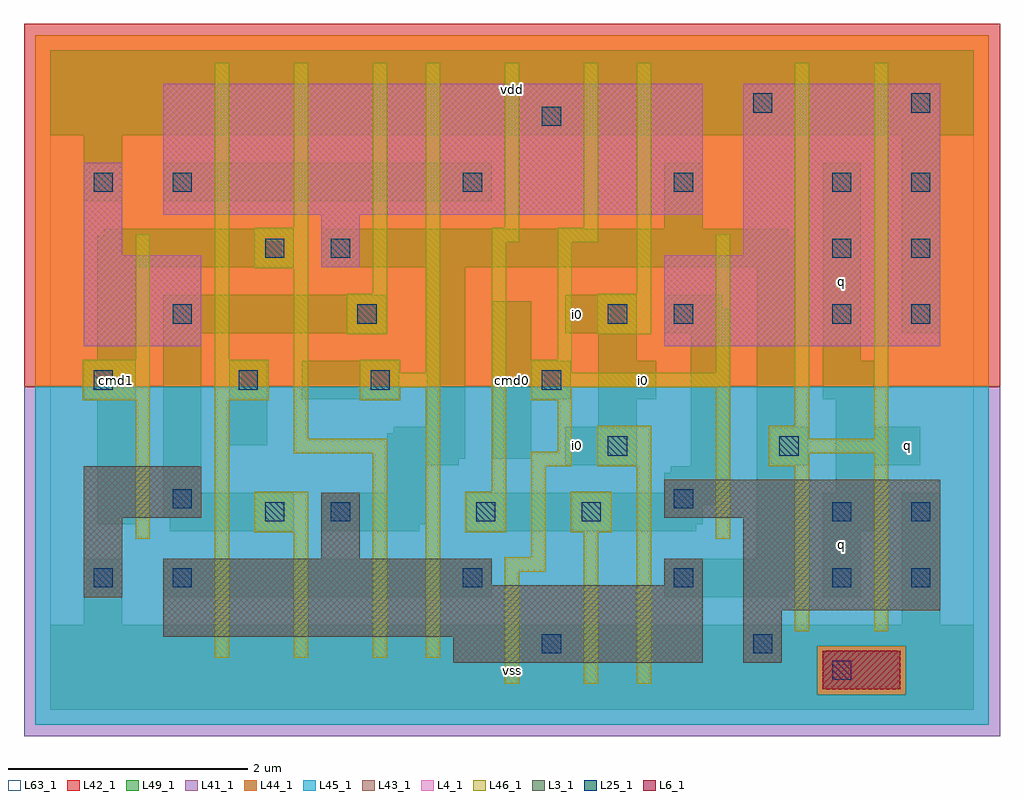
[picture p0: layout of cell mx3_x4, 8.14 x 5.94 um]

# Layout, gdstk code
import gdstk
lib = gdstk.Library(unit=1e-6, precision=1e-09)
def R(c, l, rs):  # rectangles x0, y0, x1, y1
    for r in rs: c.add(gdstk.rectangle(r[:2], r[2:], *l))
def A(c, l, x, y, w, h, nx, ny, dx, dy):  # array of equal rectangles
    R(c, l, [(x+i*dx, y+j*dy, x+i*dx+w, y+j*dy+h) for i in range(nx) for j in range(ny)])
L3_1 = (3, 1)
L4_1 = (4, 1)
L6_1 = (6, 1)
L25_1 = (25, 1)
L41_1 = (41, 1)
L42_1 = (42, 1)
L43_1 = (43, 1)
L44_1 = (44, 1)
L45_1 = (45, 1)
L46_1 = (46, 1)
L49_1 = (49, 1)
L63_1 = (63, 1)

mx3_x4 = lib.new_cell('mx3_x4')
R(mx3_x4, L3_1, [(3.36,0.39,5.44,0.61), (5.78,0.39,6.1,0.83), (0.94,0.61,5.44,1.04), (5.78,0.83,7.42,1.6), (0.28,0.94,0.6,1.6), (0.94,1.04,3.68,1.26), (5.12,1.04,5.44,1.26), (2.26,1.26,2.58,1.81), (0.28,1.6,1.26,2.03), (5.12,1.6,7.42,1.92)])
R(mx3_x4, L4_1, [(0.28,3.03,1.26,3.79), (5.12,3.03,7.42,3.79), (2.26,3.69,2.58,4.13), (0.28,3.79,0.6,4.56), (5.78,3.79,7.42,5.22), (0.94,4.13,5.44,5.22)])
R(mx3_x4, L6_1, [(6.44,0.17,7.09,0.49)])
A(mx3_x4, L25_1, 4.1, 0.47, 0.16, 0.16, 1, 3, 0, 2.2)
A(mx3_x4, L25_1, 0.36, 1.02, 0.16, 0.16, 1, 3, 0, 1.65)
A(mx3_x4, L25_1, 6.52, 3.22, 0.16, 0.16, 1, 3, 0, 0.55)
A(mx3_x4, L25_1, 7.18, 3.22, 0.16, 0.16, 1, 3, 0, 0.55)
R(mx3_x4, L25_1, [(6.52,0.25,6.68,0.41), (5.86,0.47,6.02,0.63), (1.02,1.02,1.18,1.18), (3.44,1.02,3.6,1.18), (5.2,1.02,5.36,1.18), (6.52,1.02,6.68,1.18), (7.18,1.02,7.34,1.18), (1.79,1.57,1.95,1.73), (2.34,1.57,2.5,1.73), (3.55,1.57,3.71,1.73), (4.43,1.57,4.59,1.73), (6.52,1.57,6.68,1.73), (7.18,1.57,7.34,1.73), (1.02,1.68,1.18,1.84), (5.2,1.68,5.36,1.84), (4.65,2.12,4.81,2.28), (6.08,2.12,6.24,2.28), (1.57,2.67,1.73,2.83), (2.67,2.67,2.83,2.83), (1.02,3.22,1.18,3.38), (2.56,3.22,2.72,3.38), (4.65,3.22,4.81,3.38), (5.2,3.22,5.36,3.38), (1.79,3.77,1.95,3.93), (2.34,3.77,2.5,3.93), (1.02,4.32,1.18,4.48), (3.44,4.32,3.6,4.48), (5.2,4.32,5.36,4.48), (5.86,4.98,6.02,5.14), (7.18,4.98,7.34,5.14)])
R(mx3_x4, L41_1, [(-0.22,-0.22,7.92,2.695)])
R(mx3_x4, L42_1, [(-0.22,2.695,7.92,5.72)])
R(mx3_x4, L43_1, [(6.44,0.17,7.09,0.49), (3.36,0.39,5.44,0.61), (5.78,0.39,6.1,0.83), (0.94,0.61,5.44,1.04), (5.78,0.83,7.42,1.6), (0.28,0.94,0.6,1.6), (0.94,1.04,3.68,1.26), (5.12,1.04,5.44,1.26), (2.26,1.26,2.58,1.81), (0.28,1.6,1.26,2.03), (5.12,1.6,7.42,1.92), (0.28,3.03,1.26,3.79), (5.12,3.03,7.42,3.79), (2.26,3.69,2.58,4.13), (0.28,3.79,0.6,4.56), (5.78,3.79,7.42,5.22), (0.94,4.13,5.44,5.22)])
R(mx3_x4, L44_1, [(6.395,0.125,7.135,0.535), (-0.125,2.695,7.825,5.625)])
R(mx3_x4, L45_1, [(-0.125,-0.125,7.825,0.125), (-0.125,0.125,6.395,0.535), (7.135,0.125,7.825,0.535), (-0.125,0.535,7.825,2.695)])
R(mx3_x4, L46_1, [(3.79,0.215,3.91,1.15), (4.45,0.215,4.57,1.48), (4.89,0.215,5.01,2.03), (1.37,0.435,1.49,2.58), (2.03,0.435,2.15,1.48), (2.69,0.435,2.81,2.14), (3.13,0.435,3.25,2.69), (6.21,0.655,6.33,2.03), (6.87,0.655,6.99,2.14), (3.79,1.15,4.13,1.27), (4.01,1.27,4.13,2.03), (0.71,1.425,0.83,2.58), (5.55,1.425,5.67,2.69), (1.7,1.48,2.15,1.82), (3.46,1.48,3.8,1.82), (4.34,1.48,4.68,1.82), (3.68,1.82,3.8,3.9), (4.01,2.03,4.35,2.15), (4.56,2.03,5.01,2.37), (5.99,2.03,6.33,2.14), (2.03,2.14,2.81,2.26), (5.99,2.14,6.99,2.26), (4.23,2.15,4.35,2.58), (2.03,2.26,2.15,3.68), (5.99,2.26,6.33,2.37), (6.87,2.26,6.99,5.395), (6.21,2.37,6.33,5.395), (0.27,2.58,0.83,2.92), (1.37,2.58,1.82,2.92), (2.58,2.58,2.92,2.69), (4.01,2.58,4.35,2.69), (2.58,2.69,3.25,2.81), (4.01,2.69,5.67,2.81), (2.58,2.81,2.92,2.92), (3.13,2.81,3.25,5.395), (4.01,2.81,4.35,2.92), (5.55,2.81,5.67,3.965), (0.71,2.92,0.83,3.965), (1.37,2.92,1.49,5.395), (4.23,2.92,4.35,3.9), (2.47,3.13,2.81,3.47), (4.56,3.13,5.01,3.47), (2.69,3.47,2.81,5.395), (4.89,3.47,5.01,5.395), (1.7,3.68,2.15,4.02), (3.68,3.9,3.91,4.02), (4.23,3.9,4.57,4.02), (2.03,4.02,2.15,5.395), (3.79,4.02,3.91,5.395), (4.45,4.02,4.57,5.395)])
R(mx3_x4, L49_1, [(0,0,7.7,0.71), (0.28,0.71,0.6,1.26), (7.1,0.71,7.42,1.81), (0.94,0.94,3.68,1.26), (5.12,0.94,6.155,0.995), (6.44,0.94,6.76,1.49), (5.12,0.995,6.21,1.26), (5.89,1.26,6.21,2.04), (0.995,1.49,2.03,1.6), (2.26,1.49,3.075,1.545), (3.47,1.49,5.385,1.545), (6.44,1.49,6.87,1.81), (0.39,1.545,0.71,2.59), (2.26,1.545,3.13,1.81), (3.47,1.545,5.44,1.71), (0.94,1.6,2.03,1.81), (3.47,1.71,5.605,1.765), (3.47,1.765,5.66,1.81), (0.94,1.81,1.26,3.14), (2.81,1.81,3.13,2.04), (5.12,1.81,5.66,1.975), (6.55,1.81,6.87,2.04), (5.175,1.975,5.66,2.03), (5.34,2.03,5.66,3.14), (2.81,2.04,3.405,2.095), (4.295,2.04,4.89,2.36), (5.89,2.04,6.32,2.36), (6.55,2.04,7.255,2.36), (2.81,2.095,3.46,2.305), (3.69,2.095,4.01,2.59), (1.49,2.205,1.81,2.91), (2.865,2.305,3.46,2.36), (3.14,2.36,3.46,3.69), (4.57,2.36,4.89,2.59), (5.89,2.36,6.21,3.69), (6.55,2.36,6.87,2.59), (0.28,2.59,0.71,2.91), (2.095,2.59,2.91,2.91), (3.69,2.59,4.34,2.91), (4.57,2.59,5.055,2.91), (6.44,2.59,6.87,2.91), (0.39,2.91,0.71,3.69), (3.69,2.91,4.01,3.405), (4.57,2.91,4.89,3.14), (6.44,2.91,6.76,4.56), (0.94,3.14,2.8,3.46), (4.295,3.14,4.89,3.46), (5.12,3.14,5.66,3.35), (7.1,3.14,7.42,4.79), (5.12,3.35,5.605,3.46), (0.39,3.69,2.03,3.955), (2.26,3.69,6.21,3.955), (0.445,3.955,2.03,4.01), (2.26,3.955,6.155,4.01), (5.12,4.01,5.44,4.56), (0.28,4.24,0.6,4.79), (0.94,4.24,3.68,4.56), (0,4.79,7.7,5.5)])
R(mx3_x4, L63_1, [(0,0,7.7,5.5)])
mx3_x4.add(gdstk.Label('cmd1', (0.55,2.75), layer=49, texttype=1))
mx3_x4.add(gdstk.Label('cmd1', (0.55,2.75), layer=49, texttype=1))
mx3_x4.add(gdstk.Label('vss', (3.85,0.33), layer=49, texttype=1))
mx3_x4.add(gdstk.Label('vss', (3.85,0.33), layer=49, texttype=1))
mx3_x4.add(gdstk.Label('i0', (4.4,2.2), layer=49, texttype=1))
mx3_x4.add(gdstk.Label('i0', (4.4,2.2), layer=49, texttype=1))
mx3_x4.add(gdstk.Label('cmd0', (3.85,2.75), layer=49, texttype=1))
mx3_x4.add(gdstk.Label('cmd0', (3.85,2.75), layer=49, texttype=1))
mx3_x4.add(gdstk.Label('i0', (4.4,3.3), layer=49, texttype=1))
mx3_x4.add(gdstk.Label('i0', (4.4,3.3), layer=49, texttype=1))
mx3_x4.add(gdstk.Label('vdd', (3.85,5.17), layer=49, texttype=1))
mx3_x4.add(gdstk.Label('vdd', (3.85,5.17), layer=49, texttype=1))
mx3_x4.add(gdstk.Label('i0', (4.95,2.75), layer=49, texttype=1))
mx3_x4.add(gdstk.Label('i0', (4.95,2.75), layer=49, texttype=1))
mx3_x4.add(gdstk.Label('q', (6.6,1.375), layer=49, texttype=1))
mx3_x4.add(gdstk.Label('q', (6.6,1.375), layer=49, texttype=1))
mx3_x4.add(gdstk.Label('q', (7.15,2.2), layer=49, texttype=1))
mx3_x4.add(gdstk.Label('q', (7.15,2.2), layer=49, texttype=1))
mx3_x4.add(gdstk.Label('q', (6.6,3.575), layer=49, texttype=1))
mx3_x4.add(gdstk.Label('q', (6.6,3.575), layer=49, texttype=1))

lib.write_gds('mx3_x4.gds')
